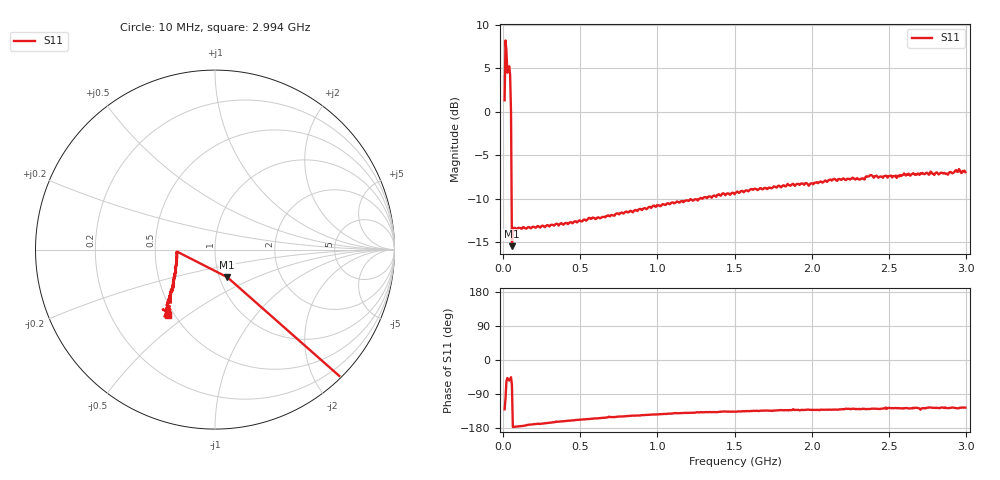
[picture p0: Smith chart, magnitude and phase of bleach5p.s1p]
# HZ S RI R 50
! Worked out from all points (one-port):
!   504 points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, 10 MHz to 2.994 GHz, reference 50 ohm
!   lowest |S11| = -15.5 dB at 57.46 MHz (marker M1), VSWR 1.41, Z = 54.5 - j17.3 ohm
!   |S11| at or under -10 dB: 55.35 MHz to 1.273 GHz (1.218 GHz wide, 183 % of centre); 1.28894 GHz to 1.292598 GHz (3.658 MHz wide, 0.283 % of centre)
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1e7  -0.7473 -0.8887
2.186508e7  1.256 -1.837
2.779762e7  1.127 -1.236
3.373016e7  1.089 -1.33
3.96627e7  1.063 -1.478
4.559524e7  0.9992 -1.283
5.152778e7  0.6923 -0.7037
5.746032e7  0.0686 -0.1538
6.339286e7  -0.2107 -0.0117
6.93254e7  -0.2143 -0.0122
7.525794e7  -0.2137 -0.0144
3.8375e8  -0.2152 -0.07
7.575e8  -0.2231 -0.1334
1.13125e9  -0.2341 -0.193
1.505e9  -0.2477 -0.2331
1.87875e9  -0.2456 -0.2959
2.133849e9  -0.2659 -0.306
2.2525e9  -0.259 -0.3186
2.329623e9  -0.2571 -0.3238
2.377083e9  -0.2729 -0.3334
2.501667e9  -0.2541 -0.3428
2.62625e9  -0.2705 -0.3469
2.679643e9  -0.2558 -0.3507
2.709306e9  -0.2714 -0.347
2.756766e9  -0.2513 -0.353
2.857619e9  -0.2659 -0.3559
2.940675e9  -0.2743 -0.3574
2.994068e9  -0.2616 -0.3644
